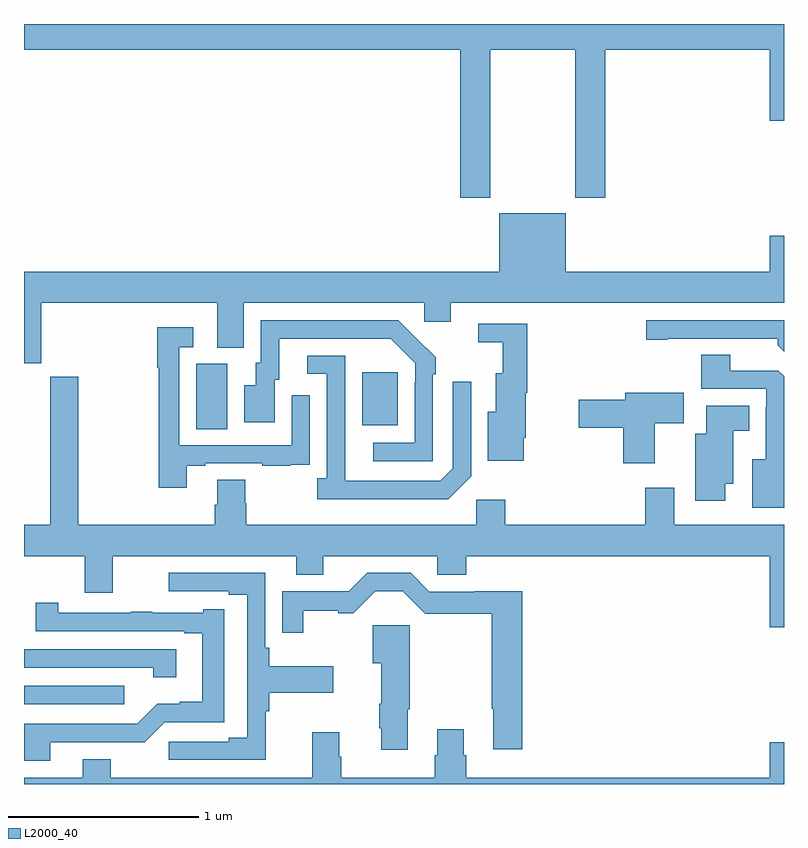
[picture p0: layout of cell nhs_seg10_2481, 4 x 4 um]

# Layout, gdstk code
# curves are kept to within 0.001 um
import gdstk
lib = gdstk.Library(unit=1e-6, precision=1e-09)
def R(c, l, rs):  # rectangles x0, y0, x1, y1
    for r in rs: c.add(gdstk.rectangle(r[:2], r[2:], *l))
def P(c, l, *ps):  # polygons
    for p in ps: c.add(gdstk.Polygon(p, *l))
L2000_40 = (2000, 40)

nhs_seg10_2481 = lib.new_cell('nhs_seg10_2481')
R(nhs_seg10_2481, L2000_40, [(245,1248.921,245.527,1249.017), (245.906,1250.368,246.07,1250.712), (246.779,1250.387,246.967,1250.668)])
P(nhs_seg10_2481, L2000_40, [(245,1252.364),(247.295,1252.364),(247.295,1251.585),(247.455,1251.585),(247.455,1252.364),(247.9,1252.364),(247.9,1251.585),(248.06,1251.585),(248.06,1252.364),(248.924,1252.364),(248.924,1251.99),(249,1251.99),(249,1252.5),(245,1252.5)],
  [(245.092,1251.032),(246.017,1251.032),(246.017,1250.797),(246.157,1250.797),(246.157,1251.032),(247.107,1251.032),(247.107,1250.934),(247.246,1250.934),(247.246,1251.032),(249,1251.032),(249,1251.385),(248.924,1251.385),(248.924,1251.196),(247.852,1251.196),(247.852,1251.505),(247.502,1251.505),(247.502,1251.196),(245,1251.196),(245,1250.715),(245.092,1250.715)],
  [(249,1250.94),(248.274,1250.94),(248.274,1250.839),(248.386,1250.839),(248.386,1250.844),(248.966,1250.844),(248.966,1250.81),(249,1250.775)],
  [(247.152,1250.657),(247.167,1250.657),(247.167,1250.745),(246.97,1250.94),(246.246,1250.94),(246.246,1250.718),(246.221,1250.718),(246.221,1250.599),(246.158,1250.599),(246.158,1250.403),(246.319,1250.403),(246.319,1250.628),(246.343,1250.628),(246.343,1250.844),(246.931,1250.844),(247.059,1250.715),(247.059,1250.615),(247.056,1250.615),(247.056,1250.295),(246.837,1250.295),(246.837,1250.199),(247.152,1250.199)],
  [(247.63,1250.322),(247.642,1250.322),(247.642,1250.558),(247.649,1250.558),(247.649,1250.922),(247.392,1250.922),(247.392,1250.825),(247.521,1250.825),(247.521,1250.662),(247.484,1250.662),(247.484,1250.458),(247.442,1250.458),(247.442,1250.201),(247.63,1250.201)],
  [(245.857,1250.175),(245.953,1250.175),(245.953,1250.187),(246.253,1250.187),(246.253,1250.175),(246.401,1250.175),(246.401,1250.181),(246.503,1250.181),(246.503,1250.29),(246.504,1250.29),(246.504,1250.545),(246.408,1250.545),(246.408,1250.283),(245.817,1250.283),(245.817,1250.799),(245.89,1250.799),(245.89,1250.905),(245.701,1250.905),(245.701,1250.692),(245.709,1250.692),(245.709,1250.058),(245.857,1250.058)],
  [(249,1250.646),(248.97,1250.676),(248.716,1250.676),(248.716,1250.759),(248.564,1250.759),(248.564,1250.58),(248.907,1250.58),(248.907,1250.483),(248.903,1250.483),(248.903,1250.209),(248.834,1250.209),(248.834,1249.955),(249,1249.955)],
  [(247.353,1250.121),(247.353,1250.617),(247.257,1250.617),(247.257,1250.163),(247.191,1250.097),(246.69,1250.097),(246.69,1250.754),(246.492,1250.754),(246.492,1250.658),(246.594,1250.658),(246.594,1250.11),(246.543,1250.11),(246.543,1250),(247.232,1250)],
  [(249,1249.864),(248.422,1249.864),(248.422,1250.059),(248.27,1250.059),(248.27,1249.864),(247.532,1249.864),(247.532,1249.996),(247.38,1249.996),(247.38,1249.864),(246.17,1249.864),(246.17,1249.977),(246.165,1249.977),(246.165,1250.102),(246.017,1250.102),(246.017,1249.97),(246.005,1249.97),(246.005,1249.864),(245.286,1249.864),(245.286,1250.643),(245.138,1250.643),(245.138,1249.864),(245,1249.864),(245,1249.7),(245.32,1249.7),(245.32,1249.506),(245.467,1249.506),(245.467,1249.7),(246.434,1249.7),(246.434,1249.601),(246.574,1249.601),(246.574,1249.7),(247.176,1249.7),(247.176,1249.602),(247.328,1249.602),(247.328,1249.7),(248.924,1249.7),(248.924,1249.326),(249,1249.326)],
  [(248.32,1250.398),(248.473,1250.398),(248.473,1250.56),(248.165,1250.56),(248.165,1250.522),(247.92,1250.522),(247.92,1250.375),(248.153,1250.375),(248.153,1250.187),(248.32,1250.187)],
  [(248.692,1250.081),(248.734,1250.081),(248.734,1250.36),(248.818,1250.36),(248.818,1250.491),(248.591,1250.491),(248.591,1250.344),(248.534,1250.344),(248.534,1249.992),(248.692,1249.992)],
  [(247.622,1249.514),(247.373,1249.514),(247.373,1249.512),(247.134,1249.512),(247.035,1249.611),(246.807,1249.611),(246.71,1249.514),(246.36,1249.514),(246.36,1249.296),(246.469,1249.296),(246.469,1249.411),(246.653,1249.411),(246.653,1249.399),(246.734,1249.399),(246.849,1249.514),(246.994,1249.514),(247.112,1249.396),(247.462,1249.396),(247.462,1248.896),(247.469,1248.896),(247.469,1248.684),(247.622,1248.684)],
  [(246.273,1248.884),(246.29,1248.884),(246.29,1248.98),(246.628,1248.98),(246.628,1249.12),(246.29,1249.12),(246.29,1249.216),(246.27,1249.216),(246.27,1249.611),(245.763,1249.611),(245.763,1249.515),(246.077,1249.515),(246.077,1249.497),(246.174,1249.497),(246.174,1248.743),(246.077,1248.743),(246.077,1248.723),(245.763,1248.723),(245.763,1248.627),(246.273,1248.627)],
  [(245.137,1248.72),(245.636,1248.719),(245.742,1248.825),(246.055,1248.825),(246.055,1249.42),(245.943,1249.42),(245.943,1249.401),(245.675,1249.401),(245.675,1249.406),(245.563,1249.406),(245.563,1249.401),(245.181,1249.401),(245.181,1249.453),(245.061,1249.453),(245.061,1249.305),(245.843,1249.305),(245.843,1249.293),(245.939,1249.293),(245.939,1248.934),(245.82,1248.934),(245.82,1248.922),(245.701,1248.922),(245.595,1248.816),(245,1248.816),(245,1248.623),(245.137,1248.623)],
  [(247.021,1248.893),(247.029,1248.893),(247.029,1249.336),(246.836,1249.336),(246.836,1249.136),(246.881,1249.136),(246.881,1248.923),(246.869,1248.923),(246.869,1248.793),(246.881,1248.793),(246.881,1248.681),(247.021,1248.681)],
  [(245.8,1249.209),(245,1249.209),(245,1249.113),(245.679,1249.113),(245.679,1249.062),(245.8,1249.062)],
  [(249,1248.721),(248.924,1248.721),(248.924,1248.532),(247.328,1248.532),(247.328,1248.651),(247.315,1248.651),(247.315,1248.787),(247.175,1248.787),(247.175,1248.651),(247.163,1248.651),(247.163,1248.532),(246.671,1248.532),(246.671,1248.644),(246.658,1248.644),(246.658,1248.772),(246.518,1248.772),(246.518,1248.532),(245.457,1248.532),(245.457,1248.631),(245.309,1248.631),(245.309,1248.532),(245,1248.532),(245,1248.5),(249,1248.5)])

lib.write_gds('nhs_seg10_2481.gds')
